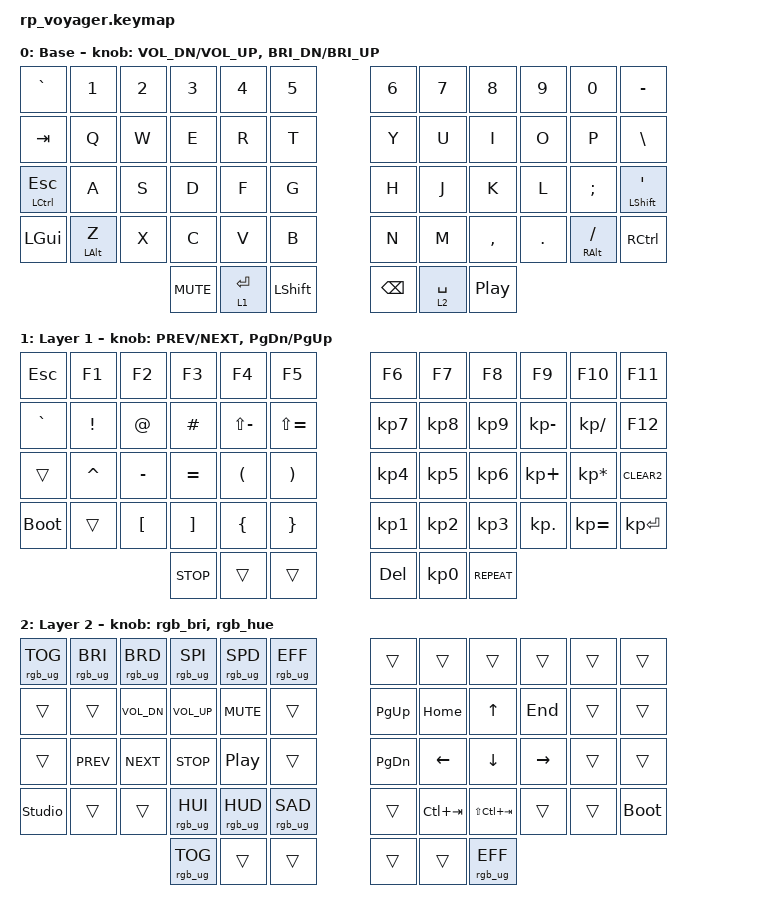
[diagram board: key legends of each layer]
// vim: set ft=devicetree
#include <behaviors.dtsi>
#include <dt-bindings/zmk/keys.h>
#include <dt-bindings/zmk/rgb.h>

/ {
	behaviors {
		rgb_bri: rgb_bri {
			compatible = "zmk,behavior-sensor-rotate";
			#sensor-binding-cells = <0>;
			bindings = <&rgb_ug RGB_BRD>, <&rgb_ug RGB_BRI>;
		};

		rgb_hue: rgb_hue {
			compatible = "zmk,behavior-sensor-rotate";
			#sensor-binding-cells = <0>;
			bindings = <&rgb_ug RGB_HUD>, <&rgb_ug RGB_HUI>;
		};
	};

	keymap {
		compatible = "zmk,keymap";

		default_layer {
			display-name = "Base";
      		// dts-format off
            bindings = <
                &kp GRAVE      &kp N1      &kp N2   &kp N3   &kp N4   &kp N5      &kp N6   &kp N7   &kp N8    &kp N9   &kp N0        &kp MINUS
                &kp TAB        &kp Q       &kp W    &kp E    &kp R    &kp T       &kp Y    &kp U    &kp I     &kp O    &kp P         &kp BSLH
                &mt LCTRL ESC  &kp A       &kp S    &kp D    &kp F    &kp G       &kp H    &kp J    &kp K     &kp L    &kp SEMI      &mt LSHFT SQT
                &kp LGUI       &mt LALT Z  &kp X    &kp C    &kp V    &kp B       &kp N    &kp M    &kp COMMA &kp DOT  &mt RALT FSLH &kp RCTRL
                                        &kp C_MUTE   &lt 1 ENTER   &kp LSHFT      &kp BSPC   &lt 2 SPACE   &kp C_PP
            >;
            // dts-format on
			sensor-bindings = <&inc_dec_kp C_VOL_DN C_VOL_UP>, <&inc_dec_kp C_BRI_DN C_BRI_UP>;
		};

		layer_1 {
			display-name = "Layer 1";
        	// dts-format off
            bindings = <
                &kp ESC        &kp F1      &kp F2    &kp F3    &kp F4        &kp F5         &kp F6   &kp F7   &kp F8   &kp F9     &kp F10    &kp F11
                &kp GRAVE      &kp EXCL    &kp AT    &kp HASH  &kp LS(MINUS) &kp LS(EQUAL)  &kp KP_N7   &kp KP_N8   &kp KP_N9   &kp KP_MINUS  &kp KP_SLASH     &kp F12
                &trans         &kp CARET   &kp MINUS &kp EQUAL &kp LPAR      &kp RPAR       &kp KP_N4   &kp KP_N5   &kp KP_N6   &kp KP_PLUS   &kp KP_ASTERISK  &kp CLEAR2
                &bootloader    &trans      &kp LBKT  &kp RBKT  &kp LBRC      &kp RBRC       &kp KP_N1   &kp KP_N2   &kp KP_N3   &kp KP_DOT    &kp KP_EQUAL     &kp KP_ENTER
                                           &kp C_STOP   &trans    &trans                        &kp DEL  &kp KP_N0  &kp C_REPEAT
            >;
            // dts-format on
			sensor-bindings = <&inc_dec_kp C_PREV C_NEXT>, <&inc_dec_kp PG_DN PG_UP>;
		};

		layer_2 {
			display-name = "Layer 2";
       		// dts-format off
            bindings = <
                &rgb_ug RGB_TOG &rgb_ug RGB_BRI &rgb_ug RGB_BRD &rgb_ug RGB_SPI &rgb_ug RGB_SPD &rgb_ug RGB_EFF      &trans       &trans       &trans     &trans    &trans &trans
                &trans          &trans          &kp C_VOL_DN    &kp C_VOL_UP    &kp C_MUTE      &trans               &kp PG_UP    &kp HOME     &kp UP     &kp END   &trans &trans
                &trans          &kp C_PREV      &kp C_NEXT      &kp C_STOP      &kp C_PP        &trans               &kp PG_DN    &kp LEFT     &kp DOWN   &kp RIGHT &trans &trans
                &studio_unlock  &trans          &trans          &rgb_ug RGB_HUI &rgb_ug RGB_HUD &rgb_ug RGB_SAD      &trans       &kp LC(TAB)  &kp LS(LC(TAB)) &trans &trans &bootloader
                                                &rgb_ug RGB_TOG &trans          &trans                               &trans       &trans       &rgb_ug RGB_EFF
            >;
            // dts-format on
			sensor-bindings = <&rgb_bri>, <&rgb_hue>;
		};

		layer_3 {
			display-name = "Layer 3";
			status = "reserved";
		};

		layer_4 {
			display-name = "Layer 4";
			status = "reserved";
		};
	};
};
